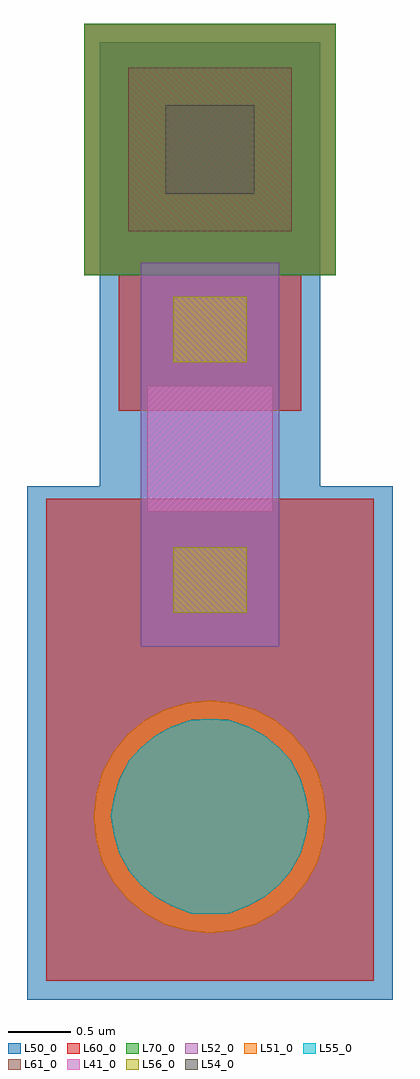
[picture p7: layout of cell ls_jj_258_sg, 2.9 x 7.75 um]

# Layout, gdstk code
import gdstk
lib = gdstk.Library(unit=1e-6, precision=1e-09)
def R(c, l, rs):  # rectangles x0, y0, x1, y1
    for r in rs: c.add(gdstk.rectangle(r[:2], r[2:], *l))
def P(c, l, *ps):  # polygons
    for p in ps: c.add(gdstk.Polygon(p, *l))
L41_0 = (41, 0)
L50_0 = (50, 0)
L51_0 = (51, 0)
L52_0 = (52, 0)
L54_0 = (54, 0)
L55_0 = (55, 0)
L56_0 = (56, 0)
L60_0 = (60, 0)
L61_0 = (61, 0)
L70_0 = (70, 0)

ls_conn_m5m6m7 = lib.new_cell('ls_conn_M5M6M7')
R(ls_conn_m5m6m7, L50_0, [(-0.5,-0.5,1.2,1.2)])
R(ls_conn_m5m6m7, L54_0, [(0,0,0.7,0.7)])
R(ls_conn_m5m6m7, L60_0, [(-0.65,-0.65,1.35,1.35)])
R(ls_conn_m5m6m7, L61_0, [(-0.3,-0.3,1,1)])
R(ls_conn_m5m6m7, L70_0, [(-0.65,-0.65,1.35,1.35)])

ls_jj_258_sg = lib.new_cell('ls_jj_258_sg')
R(ls_jj_258_sg, L41_0, [(-0.5,2.425,0.5,3.425)])
R(ls_jj_258_sg, L50_0, [(-1.45,-1.45,1.45,2.625), (-0.875,2.625,0.875,6.15)])
P(ls_jj_258_sg, L51_0, [(0,-0.925),(0.18,-0.905),(0.355,-0.855),(0.515,-0.77),(0.655,-0.655),(0.77,-0.515),(0.855,-0.355),(0.905,-0.18),(0.925,0),(0.905,0.18),(0.855,0.355),(0.77,0.515),(0.655,0.655),(0.515,0.77),(0.355,0.855),(0.18,0.905),(0,0.925),(-0.18,0.905),(-0.355,0.855),(-0.515,0.77),(-0.655,0.655),(-0.77,0.515),(-0.855,0.355),(-0.905,0.18),(-0.925,0),(-0.905,-0.18),(-0.855,-0.355),(-0.77,-0.515),(-0.655,-0.655),(-0.515,-0.77),(-0.355,-0.855),(-0.18,-0.905)])
R(ls_jj_258_sg, L52_0, [(-0.55,1.35,0.55,4.4)])
P(ls_jj_258_sg, L55_0, [(-0.15,-0.77),(0.15,-0.77),(0.3,-0.71),(0.43,-0.64),(0.55,-0.54),(0.64,-0.43),(0.72,-0.29),(0.76,-0.15),(0.79,0.01),(0.76,0.16),(0.72,0.3),(0.64,0.45),(0.55,0.55),(0.43,0.65),(0.3,0.72),(0.15,0.77),(0,0.78),(-0.15,0.77),(-0.3,0.72),(-0.43,0.65),(-0.55,0.55),(-0.64,0.45),(-0.72,0.3),(-0.76,0.16),(-0.79,0.01),(-0.76,-0.15),(-0.72,-0.29),(-0.64,-0.43),(-0.55,-0.54),(-0.43,-0.64),(-0.3,-0.71)])
R(ls_jj_258_sg, L56_0, [(-0.29,1.62,0.29,2.14), (-0.29,3.61,0.29,4.13)])
R(ls_jj_258_sg, L60_0, [(-1.3,-1.3,1.3,2.525), (-0.725,3.225,0.725,6)])
ls_jj_258_sg.add(gdstk.Reference(ls_conn_m5m6m7, (-0.35,4.95)))

lib.write_gds('ls_jj_258_sg.gds')
